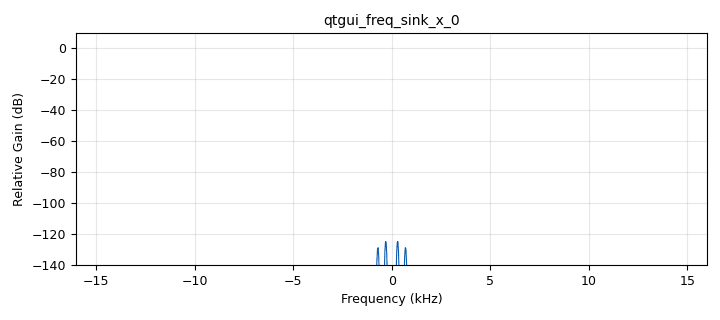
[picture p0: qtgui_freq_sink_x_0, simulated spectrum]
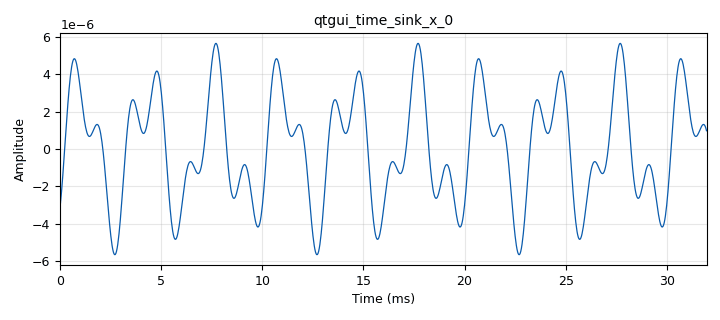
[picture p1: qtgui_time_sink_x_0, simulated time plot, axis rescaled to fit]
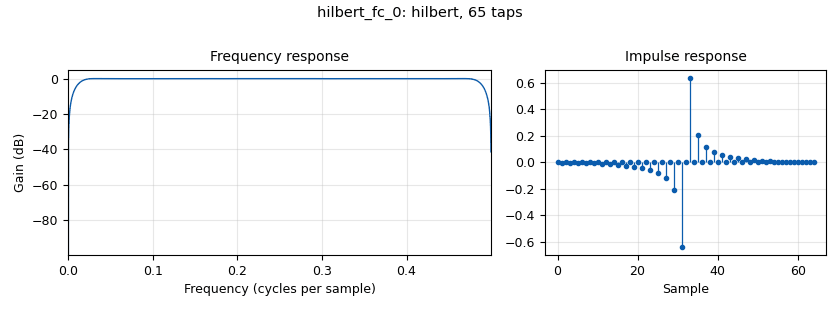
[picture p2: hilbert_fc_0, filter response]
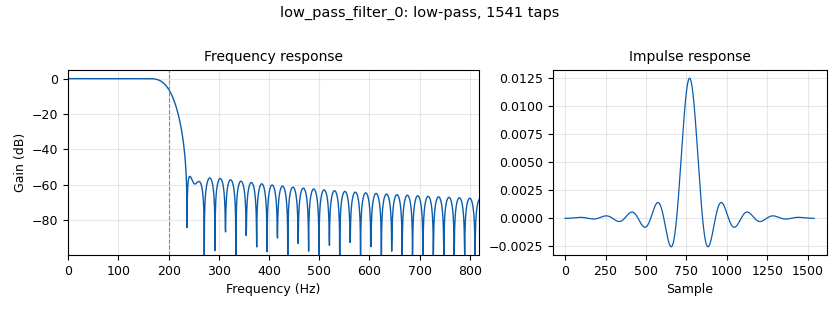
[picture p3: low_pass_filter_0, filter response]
options:
  parameters:
    generate_options: qt_gui
    id: am_modulation
    output_language: python
    title: Not titled yet
  states: {}

blocks:
- name: fc
  id: variable_qtgui_range
  parameters:
    start: '0'
    step: '100'
    stop: '1000'
    value: '100'
  states: {}
- name: fm
  id: variable_qtgui_range
  parameters:
    start: '0'
    step: '50'
    stop: '500'
    value: '500'
  states: {}
- name: samp_rate
  id: variable
  parameters:
    value: '32000'
  states: {}
- name: analog_sig_source_x_0
  id: analog_sig_source_x
  parameters:
    amp: '1'
    freq: fm
    offset: '0'
    phase: '0'
    samp_rate: samp_rate
    type: float
    waveform: analog.GR_COS_WAVE
  states: {}
- name: analog_sig_source_x_0_0
  id: analog_sig_source_x
  parameters:
    amp: '1'
    freq: fm
    offset: '0'
    phase: '0'
    samp_rate: samp_rate
    type: float
    waveform: analog.GR_COS_WAVE
  states: {}
- name: analog_sig_source_x_1
  id: analog_sig_source_x
  parameters:
    amp: '1'
    freq: fc
    offset: '0'
    phase: '0'
    samp_rate: samp_rate
    type: float
    waveform: analog.GR_COS_WAVE
  states: {}
- name: analog_sig_source_x_1_0
  id: analog_sig_source_x
  parameters:
    amp: '1'
    freq: fc
    offset: '0'
    phase: '0'
    samp_rate: samp_rate
    type: complex
    waveform: analog.GR_SIN_WAVE
  states: {}
- name: analog_sig_source_x_1_1
  id: analog_sig_source_x
  parameters:
    amp: '1'
    freq: fc
    offset: '0'
    phase: '0'
    samp_rate: samp_rate
    type: float
    waveform: analog.GR_COS_WAVE
  states: {}
- name: blocks_add_xx_0_0
  id: blocks_add_xx
  parameters:
    type: float
  states: {}
- name: blocks_complex_to_float_0
  id: blocks_complex_to_float
  parameters: {}
  states: {}
- name: blocks_complex_to_float_0_0
  id: blocks_complex_to_float
  parameters: {}
  states: {}
- name: blocks_complex_to_float_0_0_0
  id: blocks_complex_to_float
  parameters: {}
  states: {}
- name: blocks_multiply_const_vxx_0
  id: blocks_multiply_const_vxx
  parameters:
    const: '0.1'
    type: float
  states: {}
- name: blocks_multiply_const_vxx_0_0
  id: blocks_multiply_const_vxx
  parameters:
    const: '0.1'
    type: float
  states: {}
- name: blocks_multiply_xx_0
  id: blocks_multiply_xx
  parameters:
    type: float
  states: {}
- name: blocks_multiply_xx_0_0
  id: blocks_multiply_xx
  parameters:
    type: float
  states: {}
- name: blocks_multiply_xx_0_0_0
  id: blocks_multiply_xx
  parameters:
    type: float
  states: {}
- name: blocks_multiply_xx_0_1
  id: blocks_multiply_xx
  parameters:
    type: float
  states: {}
- name: blocks_null_sink_0
  id: blocks_null_sink
  parameters:
    type: float
  states: {}
- name: blocks_null_sink_0_0
  id: blocks_null_sink
  parameters:
    type: float
  states: {}
- name: blocks_sub_xx_0
  id: blocks_sub_xx
  parameters:
    type: float
  states: {}
- name: blocks_throttle2_0
  id: blocks_throttle2
  parameters:
    samples_per_second: samp_rate
    type: float
  states: {}
- name: blocks_throttle2_0_0_0
  id: blocks_throttle2
  parameters:
    samples_per_second: samp_rate
    type: float
  states: {}
- name: blocks_throttle2_0_0_0_0
  id: blocks_throttle2
  parameters:
    samples_per_second: samp_rate
    type: float
  states: {}
- name: blocks_throttle2_0_0_0_1
  id: blocks_throttle2
  parameters:
    samples_per_second: samp_rate
    type: float
  states: {}
- name: hilbert_fc_0
  id: hilbert_fc
  parameters:
    num_taps: '65'
  states: {}
- name: hilbert_fc_1
  id: hilbert_fc
  parameters:
    num_taps: '65'
  states: {}
- name: low_pass_filter_0
  id: low_pass_filter
  parameters:
    cutoff_freq: '200'
    decim: '1'
    gain: '1'
    samp_rate: samp_rate
    type: fir_filter_fff
    width: '50'
    win: window.WIN_HAMMING
  states: {}
- name: qtgui_freq_sink_x_0
  id: qtgui_freq_sink_x
  parameters:
    bw: samp_rate
    fc: '0'
    fftsize: '1024'
    type: float
  states: {}
- name: qtgui_time_sink_x_0
  id: qtgui_time_sink_x
  parameters:
    size: '1024'
    srate: samp_rate
    type: float
  states: {}

connections:
- [analog_sig_source_x_0, '0', blocks_multiply_xx_0, '0']
- [analog_sig_source_x_0_0, '0', blocks_throttle2_0_0_0_0, '0']
- [analog_sig_source_x_1, '0', blocks_multiply_xx_0, '1']
- [analog_sig_source_x_1_0, '0', blocks_complex_to_float_0_0_0, '0']
- [analog_sig_source_x_1_1, '0', blocks_multiply_xx_0_1, '1']
- [blocks_add_xx_0_0, '0', blocks_sub_xx_0, '1']
- [blocks_complex_to_float_0, '0', blocks_null_sink_0, '0']
- [blocks_complex_to_float_0, '1', blocks_multiply_xx_0_0, '0']
- [blocks_complex_to_float_0_0, '0', blocks_multiply_xx_0_0_0, '0']
- [blocks_complex_to_float_0_0, '1', blocks_null_sink_0_0, '0']
- [blocks_complex_to_float_0_0_0, '0', blocks_multiply_xx_0_0, '1']
- [blocks_complex_to_float_0_0_0, '1', blocks_multiply_xx_0_0_0, '1']
- [blocks_multiply_const_vxx_0, '0', blocks_multiply_xx_0_1, '0']
- [blocks_multiply_const_vxx_0_0, '0', qtgui_freq_sink_x_0, '0']
- [blocks_multiply_const_vxx_0_0, '0', qtgui_time_sink_x_0, '0']
- [blocks_multiply_xx_0, '0', blocks_throttle2_0, '0']
- [blocks_multiply_xx_0_0, '0', blocks_add_xx_0_0, '0']
- [blocks_multiply_xx_0_0_0, '0', blocks_add_xx_0_0, '1']
- [blocks_multiply_xx_0_1, '0', low_pass_filter_0, '0']
- [blocks_sub_xx_0, '0', blocks_throttle2_0_0_0, '0']
- [blocks_throttle2_0, '0', blocks_sub_xx_0, '0']
- [blocks_throttle2_0_0_0, '0', blocks_multiply_const_vxx_0, '0']
- [blocks_throttle2_0_0_0_0, '0', hilbert_fc_0, '0']
- [blocks_throttle2_0_0_0_0, '0', hilbert_fc_1, '0']
- [blocks_throttle2_0_0_0_1, '0', blocks_multiply_const_vxx_0_0, '0']
- [hilbert_fc_0, '0', blocks_complex_to_float_0, '0']
- [hilbert_fc_1, '0', blocks_complex_to_float_0_0, '0']
- [low_pass_filter_0, '0', blocks_throttle2_0_0_0_1, '0']

metadata:
  file_format: 1
  grc_version: 3.10.9.2
